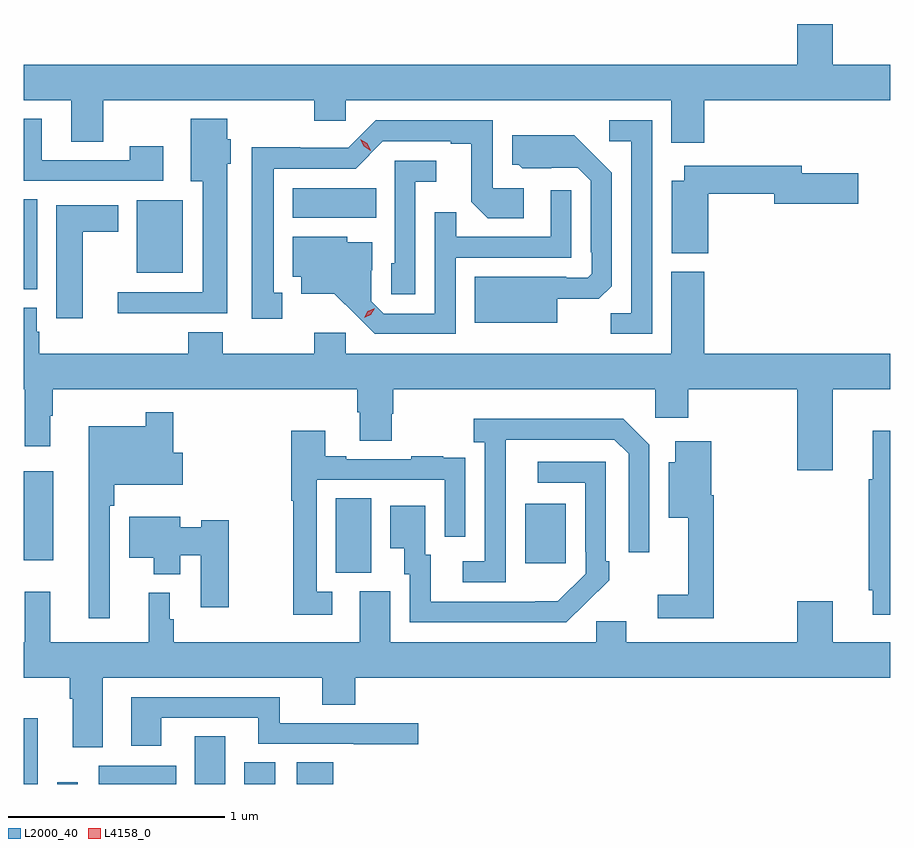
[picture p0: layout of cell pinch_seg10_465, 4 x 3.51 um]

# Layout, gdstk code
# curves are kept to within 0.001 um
import gdstk
lib = gdstk.Library(unit=1e-6, precision=1e-09)
def R(c, l, rs):  # rectangles x0, y0, x1, y1
    for r in rs: c.add(gdstk.rectangle(r[:2], r[2:], *l))
def P(c, l, *ps):  # polygons
    for p in ps: c.add(gdstk.Polygon(p, *l))
L2000_40 = (2000, 40)
L4158_0 = (4158, 0)

pinch_seg10_465 = lib.new_cell('pinch_seg10_465')
R(pinch_seg10_465, L2000_40, [(269.329,1303.822,269.395,1304.125), (269.484,1303.822,269.58,1303.831), (269.676,1303.822,270.034,1303.906), (270.119,1303.822,270.259,1304.042), (270.347,1303.822,270.49,1303.922), (270.59,1303.822,270.757,1303.922), (270.77,1304.797,270.934,1305.14), (271.643,1304.841,271.831,1305.115), (269.329,1304.855,269.467,1305.265), (269.329,1306.105,269.392,1306.52), (269.852,1306.181,270.064,1306.516), (270.572,1306.436,270.956,1306.57)])
P(pinch_seg10_465, L2000_40, [(272.471,1306.976),(273.329,1306.976),(273.329,1307.14),(273.064,1307.14),(273.064,1307.329),(272.9,1307.329),(272.9,1307.14),(269.329,1307.14),(269.329,1306.976),(269.549,1306.976),(269.549,1306.786),(269.697,1306.786),(269.697,1306.976),(270.67,1306.976),(270.67,1306.883),(270.816,1306.883),(270.816,1306.976),(272.318,1306.976),(272.318,1306.782),(272.471,1306.782)],
  [(269.974,1306.765),(269.818,1306.765),(269.818,1306.701),(269.413,1306.701),(269.413,1306.891),(269.329,1306.891),(269.329,1306.605),(269.974,1306.605)],
  [(270.268,1306.683),(270.286,1306.683),(270.286,1306.797),(270.268,1306.797),(270.268,1306.891),(270.101,1306.891),(270.101,1306.604),(270.155,1306.604),(270.155,1306.092),(269.763,1306.092),(269.763,1305.995),(270.268,1305.995)],
  [(270.523,1306.089),(270.484,1306.089),(270.484,1306.662),(270.861,1306.662),(270.987,1306.788),(271.301,1306.788),(271.301,1306.776),(271.395,1306.776),(271.395,1306.508),(271.471,1306.432),(271.636,1306.432),(271.636,1306.572),(271.494,1306.572),(271.494,1306.884),(270.954,1306.884),(270.828,1306.758),(270.606,1306.758),(270.606,1306.76),(270.383,1306.76),(270.383,1305.969),(270.523,1305.969)],
  [(272.229,1306.884),(272.031,1306.884),(272.031,1306.788),(272.133,1306.788),(272.133,1305.995),(272.038,1305.995),(272.038,1305.9),(272.229,1305.9)],
  [(271.792,1306.061),(271.984,1306.061),(272.043,1306.12),(272.043,1306.642),(271.871,1306.816),(271.583,1306.816),(271.583,1306.68),(271.614,1306.68),(271.63,1306.664),(271.887,1306.665),(271.947,1306.605),(271.947,1306.276),(271.95,1306.276),(271.95,1306.176),(271.932,1306.158),(271.832,1306.158),(271.832,1306.162),(271.412,1306.162),(271.412,1305.95),(271.792,1305.95)],
  [(271.137,1306.601),(271.234,1306.601),(271.234,1306.698),(271.041,1306.698),(271.041,1306.224),(271.026,1306.224),(271.026,1306.081),(271.137,1306.081)],
  [(272.488,1306.546),(272.792,1306.546),(272.792,1306.499),(273.181,1306.499),(273.181,1306.641),(272.92,1306.641),(272.92,1306.675),(272.378,1306.675),(272.378,1306.606),(272.321,1306.606),(272.321,1306.271),(272.488,1306.271)],
  [(271.323,1306.251),(271.857,1306.251),(271.857,1306.561),(271.761,1306.561),(271.761,1306.347),(271.325,1306.347),(271.325,1306.46),(271.227,1306.46),(271.227,1305.993),(270.99,1305.993),(270.933,1306.05),(270.933,1306.192),(270.937,1306.192),(270.937,1306.321),(270.822,1306.321),(270.822,1306.348),(270.572,1306.348),(270.572,1306.163),(270.611,1306.163),(270.611,1306.085),(270.763,1306.085),(270.95,1305.9),(271.323,1305.9)],
  [(269.602,1306.37),(269.767,1306.37),(269.767,1306.492),(269.48,1306.492),(269.48,1305.972),(269.602,1305.972)],
  [(273.064,1305.644),(273.329,1305.644),(273.329,1305.808),(272.471,1305.808),(272.471,1306.186),(272.318,1306.186),(272.318,1305.808),(270.816,1305.808),(270.816,1305.904),(270.67,1305.904),(270.67,1305.808),(270.249,1305.808),(270.249,1305.907),(270.089,1305.907),(270.089,1305.808),(269.402,1305.808),(269.402,1305.909),(269.389,1305.909),(269.389,1306.02),(269.329,1306.02),(269.329,1305.644),(269.335,1305.644),(269.335,1305.381),(269.452,1305.381),(269.452,1305.521),(269.464,1305.521),(269.464,1305.644),(270.869,1305.644),(270.869,1305.538),(270.881,1305.538),(270.881,1305.406),(271.029,1305.406),(271.029,1305.531),(271.034,1305.531),(271.034,1305.644),(272.244,1305.644),(272.244,1305.513),(272.396,1305.513),(272.396,1305.644),(272.9,1305.644),(272.9,1305.27),(273.064,1305.27)],
  [(269.727,1305.107),(269.747,1305.107),(269.747,1305.203),(270.064,1305.203),(270.064,1305.351),(270.02,1305.351),(270.02,1305.538),(269.892,1305.538),(269.892,1305.472),(269.63,1305.472),(269.63,1304.586),(269.727,1304.586)],
  [(271.554,1305.211),(271.555,1305.411),(272.055,1305.411),(272.121,1305.345),(272.121,1304.892),(272.217,1304.892),(272.217,1305.387),(272.096,1305.508),(271.407,1305.508),(271.407,1305.398),(271.458,1305.398),(271.458,1304.85),(271.356,1304.85),(271.356,1304.754),(271.554,1304.754)],
  [(270.754,1304.709),(270.681,1304.709),(270.681,1305.225),(271.272,1305.225),(271.272,1304.964),(271.368,1304.964),(271.368,1305.218),(271.367,1305.218),(271.367,1305.327),(271.265,1305.327),(271.265,1305.334),(271.117,1305.334),(271.117,1305.321),(270.817,1305.321),(270.817,1305.334),(270.721,1305.334),(270.721,1305.451),(270.565,1305.451),(270.565,1305.128),(270.573,1305.128),(270.573,1304.604),(270.754,1304.604)],
  [(273.329,1305.451),(273.248,1305.451),(273.248,1305.228),(273.229,1305.228),(273.229,1304.716),(273.248,1304.716),(273.248,1304.604),(273.329,1304.604)],
  [(272.513,1305.154),(272.502,1305.154),(272.502,1305.403),(272.336,1305.403),(272.336,1305.307),(272.306,1305.307),(272.306,1305.05),(272.396,1305.05),(272.396,1304.695),(272.256,1304.695),(272.256,1304.586),(272.513,1304.586)],
  [(271.925,1304.659),(271.926,1304.658),(272.031,1304.763),(272.031,1304.851),(272.016,1304.851),(272.016,1305.309),(271.701,1305.309),(271.701,1305.213),(271.92,1305.213),(271.92,1304.893),(271.923,1304.893),(271.923,1304.793),(271.795,1304.665),(271.207,1304.664),(271.207,1304.88),(271.183,1304.88),(271.183,1305.106),(271.022,1305.106),(271.022,1304.909),(271.085,1304.909),(271.085,1304.79),(271.11,1304.79),(271.11,1304.568),(271.834,1304.568)],
  [(270.276,1305.038),(270.15,1305.038),(270.15,1305.007),(270.052,1305.007),(270.052,1305.055),(269.816,1305.055),(269.816,1304.867),(269.93,1304.867),(269.93,1304.789),(270.052,1304.789),(270.052,1304.878),(270.146,1304.878),(270.146,1304.637),(270.276,1304.637)],
  [(269.335,1304.71),(269.335,1304.476),(269.329,1304.476),(269.329,1304.312),(269.543,1304.312),(269.543,1304.216),(269.555,1304.216),(269.555,1303.992),(269.695,1303.992),(269.695,1304.312),(270.707,1304.312),(270.707,1304.188),(270.86,1304.188),(270.86,1304.312),(273.329,1304.312),(273.329,1304.476),(273.064,1304.476),(273.064,1304.665),(272.9,1304.665),(272.9,1304.476),(272.11,1304.476),(272.11,1304.574),(271.971,1304.574),(271.971,1304.476),(271.021,1304.476),(271.021,1304.712),(270.881,1304.712),(270.881,1304.476),(270.023,1304.476),(270.023,1304.583),(270.004,1304.583),(270.004,1304.704),(269.906,1304.704),(269.906,1304.476),(269.453,1304.476),(269.453,1304.71)],
  [(269.965,1304.127),(270.413,1304.127),(270.413,1304.007),(270.853,1304.007),(270.853,1304.005),(271.15,1304.005),(271.15,1304.103),(270.512,1304.103),(270.512,1304.223),(269.825,1304.223),(269.825,1303.998),(269.965,1303.998)])
P(pinch_seg10_465, L4158_0, [(270.9,1305.973),(270.9,1305.974),(270.918,1306.003),(270.949,1306.018),(270.949,1306.018),(270.949,1306.017),(270.931,1305.988),(270.9,1305.973)],
  [(270.93,1306.745),(270.899,1306.765),(270.882,1306.797),(270.882,1306.798),(270.882,1306.798),(270.914,1306.778),(270.931,1306.746),(270.931,1306.745)])

lib.write_gds('pinch_seg10_465.gds')
